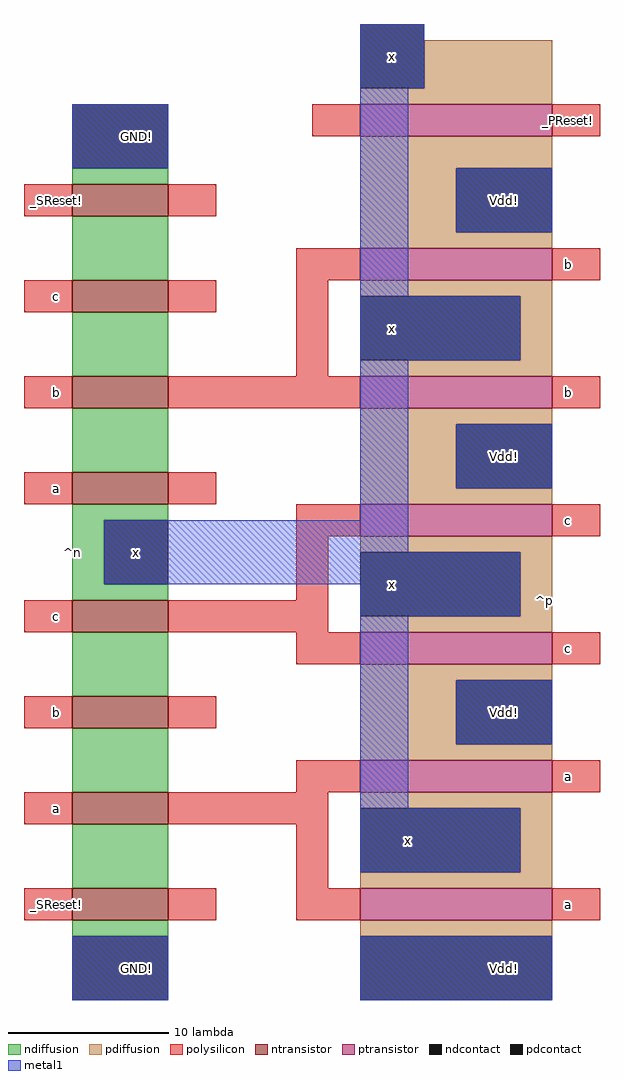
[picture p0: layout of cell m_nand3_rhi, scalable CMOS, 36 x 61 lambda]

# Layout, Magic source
magic
tech scmos
<< ndiffusion >>
rect 59 65 65 66
rect 59 59 65 63
rect 59 53 65 57
rect 59 47 65 51
rect 59 44 65 45
rect 59 40 61 44
rect 59 39 65 40
rect 59 33 65 37
rect 59 27 65 31
rect 59 21 65 25
rect 59 18 65 19
<< pdiffusion >>
rect 81 71 89 74
rect 77 70 89 71
rect 77 66 89 68
rect 77 62 83 66
rect 77 61 89 62
rect 77 58 89 59
rect 87 54 89 58
rect 77 53 89 54
rect 77 50 89 51
rect 77 46 83 50
rect 77 45 89 46
rect 77 42 89 43
rect 87 38 89 42
rect 77 37 89 38
rect 77 34 89 35
rect 77 30 83 34
rect 77 29 89 30
rect 77 26 89 27
rect 87 22 89 26
rect 77 21 89 22
rect 77 18 89 19
<< ntransistor >>
rect 59 63 65 65
rect 59 57 65 59
rect 59 51 65 53
rect 59 45 65 47
rect 59 37 65 39
rect 59 31 65 33
rect 59 25 65 27
rect 59 19 65 21
<< ptransistor >>
rect 77 68 89 70
rect 77 59 89 61
rect 77 51 89 53
rect 77 43 89 45
rect 77 35 89 37
rect 77 27 89 29
rect 77 19 89 21
<< polysilicon >>
rect 74 68 77 70
rect 89 68 92 70
rect 56 63 59 65
rect 65 63 68 65
rect 73 59 77 61
rect 89 59 92 61
rect 56 57 59 59
rect 65 57 68 59
rect 73 53 75 59
rect 56 51 59 53
rect 65 51 77 53
rect 89 51 92 53
rect 56 45 59 47
rect 65 45 68 47
rect 73 43 77 45
rect 89 43 92 45
rect 73 39 75 43
rect 56 37 59 39
rect 65 37 75 39
rect 73 35 77 37
rect 89 35 92 37
rect 56 31 59 33
rect 65 31 68 33
rect 73 27 77 29
rect 89 27 92 29
rect 56 25 59 27
rect 65 25 75 27
rect 73 21 75 25
rect 56 19 59 21
rect 65 19 68 21
rect 73 19 77 21
rect 89 19 92 21
<< ndcontact >>
rect 59 66 65 70
rect 61 40 65 44
rect 59 14 65 18
<< pdcontact >>
rect 77 71 81 75
rect 83 62 89 66
rect 77 54 87 58
rect 83 46 89 50
rect 77 38 87 42
rect 83 30 89 34
rect 77 22 87 26
rect 77 14 89 18
<< metal1 >>
rect 77 71 81 75
rect 59 66 65 70
rect 77 58 80 71
rect 83 62 89 66
rect 77 54 87 58
rect 77 44 80 54
rect 83 46 89 50
rect 61 42 80 44
rect 61 40 87 42
rect 77 38 87 40
rect 77 26 80 38
rect 83 30 89 34
rect 77 22 87 26
rect 59 14 65 18
rect 77 14 89 18
<< labels >>
rlabel polysilicon 58 58 58 58 3 c
rlabel polysilicon 58 52 58 52 3 b
rlabel polysilicon 58 46 58 46 3 a
rlabel polysilicon 58 26 58 26 3 a
rlabel polysilicon 58 32 58 32 3 b
rlabel polysilicon 58 38 58 38 3 c
rlabel polysilicon 58 20 58 20 3 _SReset!
rlabel polysilicon 58 64 58 64 3 _SReset!
rlabel space 56 13 62 71 7 ^n
rlabel polysilicon 90 60 90 60 7 b
rlabel polysilicon 90 52 90 52 7 b
rlabel polysilicon 90 44 90 44 7 c
rlabel polysilicon 90 36 90 36 7 c
rlabel polysilicon 90 28 90 28 7 a
rlabel polysilicon 90 20 90 20 7 a
rlabel space 85 13 92 65 3 ^p
rlabel polysilicon 90 69 90 69 1 _PReset!
rlabel ndcontact 63 42 63 42 1 x
rlabel ndcontact 63 68 63 68 1 GND!
rlabel ndcontact 63 16 63 16 1 GND!
rlabel pdcontact 80 24 80 24 1 x
rlabel pdcontact 79 40 79 40 1 x
rlabel pdcontact 79 56 79 56 1 x
rlabel pdcontact 86 64 86 64 1 Vdd!
rlabel pdcontact 86 48 86 48 5 Vdd!
rlabel pdcontact 86 32 86 32 5 Vdd!
rlabel pdcontact 86 16 86 16 1 Vdd!
rlabel pdcontact 79 73 79 73 5 x
<< end >>
